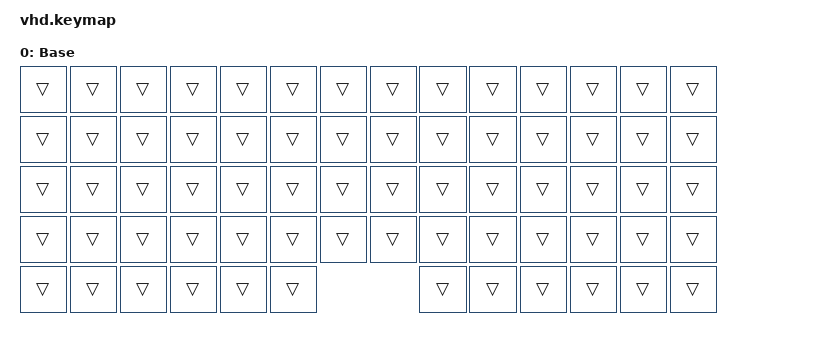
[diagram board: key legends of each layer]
/*
 * Copyright (c) 2025 VEXC HOW DESIGN
 * Copyright (c) 2020 The ZMK Contributors
 *
 * SPDX-License-Identifier: MIT
 */

#include <behaviors.dtsi>
#include <dt-bindings/zmk/keys.h>
#include <dt-bindings/zmk/bt.h>
#include <dt-bindings/zmk/outputs.h>


/ {
        keymap {
                compatible = "zmk,keymap";

        default_layer {
            display-name = "Base";
            bindings = <
&trans  &trans  &trans  &trans  &trans  &trans  &trans  &trans  &trans  &trans  &trans  &trans  &trans  &trans
&trans  &trans  &trans  &trans  &trans  &trans  &trans  &trans  &trans  &trans  &trans  &trans  &trans  &trans
&trans  &trans  &trans  &trans  &trans  &trans  &trans  &trans  &trans  &trans  &trans  &trans  &trans  &trans
&trans  &trans  &trans  &trans  &trans  &trans  &trans  &trans  &trans  &trans  &trans  &trans  &trans  &trans
&trans  &trans  &trans  &trans  &trans  &trans                  &trans  &trans  &trans  &trans  &trans  &trans
                        >;
                };

        };
};
